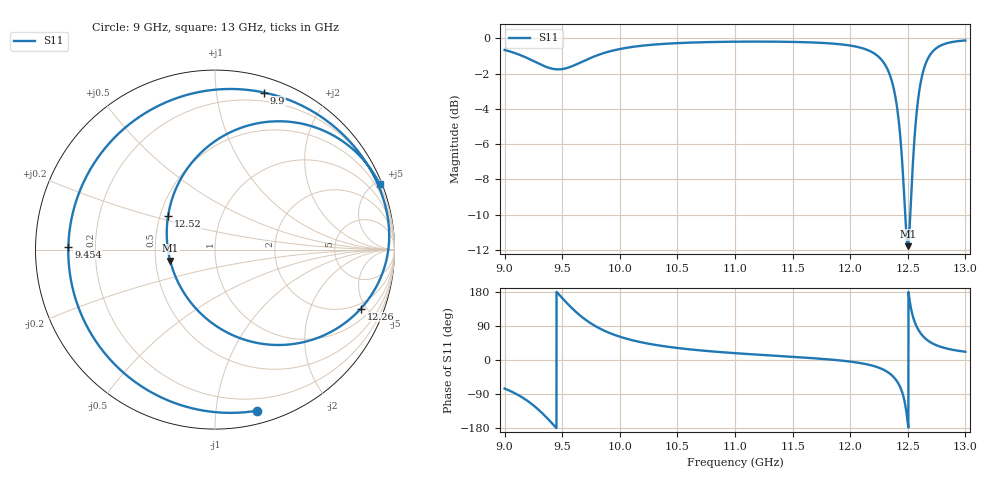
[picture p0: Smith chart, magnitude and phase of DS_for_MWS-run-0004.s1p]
! TOUCHSTONE file generated by CST DESIGN STUDIO
! Date and time: Wed Feb  5 13:32:12 2025
! Project name: C:\Work\MatlabApps\UnitCellOptimizationMatlab\CST\unitcell.cst
! Tree item: Tasks\Sweep1\SPara1\S-Parameters
! Header version: 2024
! Port assignment regex: !\s*Touchstone port\s*([0-9]+)\s*=\s*(CST MWS port|CST DES external port|CST DES block port)\s*(.+)\s* \(\"(.*)\"\)(\s*mode\s*([0-9]+))?.*
! Touchstone port assignment:
! Touchstone port 1 = CST DES external port 1 ("")
# GHz S MA R 50
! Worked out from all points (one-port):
!   4001 points, 9 GHz to 13 GHz, reference 50 ohm
!   lowest |S11| = -11.8 dB at 12.5 GHz (marker M1), VSWR 1.69, Z = 29.8 - j3.99 ohm
!   |S11| at or under -10 dB: 12.47722 GHz to 12.5217 GHz (44.48 MHz wide, 0.356 % of centre)
!   S11 on the Smith chart (normalised r, x): 9 GHz: 0.10, -1.29; 9.454 GHz: 0.10, +0.01; 9.9 GHz: 0.12, +1.35; 12.26 GHz: 1.62, -4.59; 12.52 GHz: 0.55, +0.23; 13 GHz: 0.18, +5.20
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9  0.9277 -75.4
9.138  0.8966 -95.9
9.244  0.8651 -118.2
9.364  0.8298 -151.7
9.454  0.8173 178.8
9.5  0.8187 163.5
9.591  0.8354 134.9
9.678  0.8605 111.9
9.775  0.8883 91.7
9.9  0.9168 72.7
10  0.9332 61.5
10.215  0.9554 45.0
10.5  0.97 31.7
11  0.9791 18.0
11.5  0.9778 8.4
12  0.9548 -4.2
12.263  0.8764 -22.0
12.351  0.7765 -37.6
12.421  0.585 -63.7
12.461  0.3966 -95.1
12.5  0.2573 -165.9
12.523  0.3226 144.1
12.572  0.5937 91.4
12.624  0.7836 65.7
12.684  0.8883 49.3
12.757  0.9432 37.9
12.858  0.9729 28.9
13  0.9871 21.7
